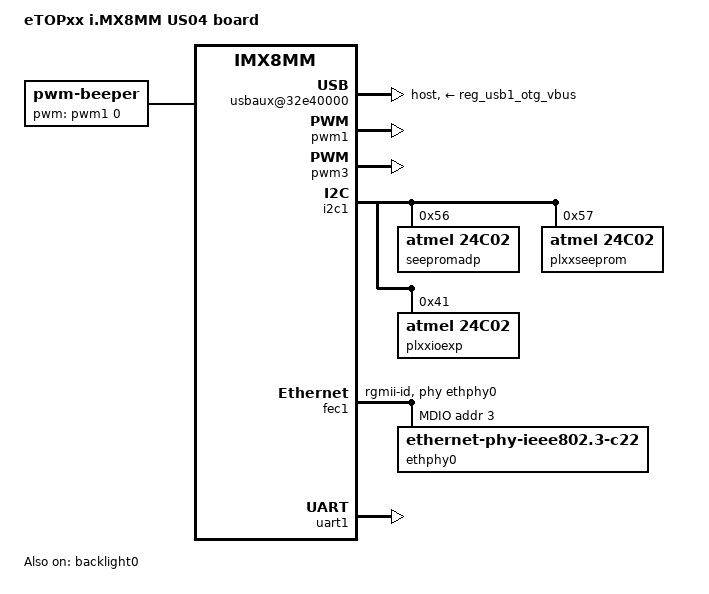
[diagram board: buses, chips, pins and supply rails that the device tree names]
/*
 * Copyright (C) 2019 Exor S.p.a
 * 
 * Written by: G. Pavoni Exor S.p.a.
 * 
 * Copyright (C) 2013 Freescale Semiconductor, Inc.
 *
 * This program is free software; you can redistribute it and/or modify
 * it under the terms of the GNU General Public License version 2 as
 * published by the Free Software Foundation.
 */
  
/dts-v1/;
  
#include "imx8mm_us04.dtsi"
  
/ {
	model = "eTOPxx i.MX8MM US04 board";

	aliases {
		serial0 = &uart1;
		serial1 = &uart2;
		serial2 = &uart4;
	};

	thermal-zones {
		/* cpu thermal */
		cpu-thermal {
			polling-delay-passive = <250>;
			polling-delay = <2000>;
			thermal-sensors = <&tmu>;
			trips {
				cpu_alert0: trip0 {
					temperature = <110000>;
					hysteresis = <2000>;
					type = "passive";
				};

				cpu_crit0: trip1 {
					temperature = <120000>;
					hysteresis = <2000>;
					type = "critical";
				};
			};

			cooling-maps {
				map0 {
					trip = <&cpu_alert0>;
					cooling-device =
					<&A53_0 THERMAL_NO_LIMIT THERMAL_NO_LIMIT>;
				};
			};
		};
	};
	
	beeper {
		compatible = "pwm-beeper";
		pwms = <&pwm1 0 50000 0>;
	};
#if 0	
	working_hours {
	  compatible = "working_hours";
	  nvmem-names = "eeprom", "rtcnvram";
	  nvmem = <&seeprom0>, <&m41t83>;
	  backlight = <&backlight0>;
	  status = "okay";
	};	

	plxx0: plugin0 {
	  compatible = "exor,plxx_manager";
	  nvmem-names = "eeprom", "ioexp";
	  nvmem = <&plxxseeprom>, <&plxxioexp>;
	  sel-gpio = <&gpio1 7 0>;
	  index = <0>;
	  status = "okay";
	};	
	
	plxx1: plugin1 {
	  compatible = "exor,plxx_manager";
	  nvmem-names = "eeprom", "ioexp";
	  nvmem = <&plxxseeprom>, <&plxxioexp>;
	  sel-gpio = <&gpio1 4 0>;
	  index = <1>;
	  status = "okay";
	};	
	
	plxx2: plugin2 {
	  compatible = "exor,plxx_manager";
	  nvmem-names = "eeprom", "ioexp";
	  nvmem = <&plxxseeprom>, <&plxxioexp>;
	  sel-gpio = <&gpio4 7 0>;
	  index = <2>;
	  status = "okay";
	};	
	
	plxx3: plugin3 {
	  compatible = "exor,plxx_manager";
	  nvmem-names = "eeprom", "ioexp";
	  nvmem = <&plxxseeprom>, <&plxxioexp>;
	  sel-gpio = <&gpio1 8 0>;
	  index = <3>;
	  status = "okay";
	};	
#endif	
	
};

&aips4 {
	usbaux@32e40000 {
		compatible = "fsl,imx8mm-usb", "fsl,imx7d-usb";
		reg = <0x32e40000 0x200>;
		interrupts = <GIC_SPI 40 IRQ_TYPE_LEVEL_HIGH>;
		clocks = <&clk IMX8MM_CLK_USB1_CTRL_ROOT>;
		clock-names = "usb1_ctrl_root_clk";
		assigned-clocks = <&clk IMX8MM_CLK_USB_BUS>;
		assigned-clock-parents = <&clk IMX8MM_SYS_PLL2_500M>;
		fsl,usbphy = <&usbphynop1>;
		fsl,usbmisc = <&usbmisc1 0>;
		power-domains = <&usb_otg1_pd>;
		
		dr_mode = "host";
		vbus-supply = <&reg_usb1_otg_vbus>;
		picophy,pre-emp-curr-control = <3>;
		picophy,dc-vol-level-adjust = <7>;
		status = "okay";
	};	
};

/delete-node/&usbotg1;


&backlight0 {
    compatible = "pwm-backlight";
    pwms = <&pwm3 0 50000 0>;
    brightness-levels = <0 4 8 12 16 20 24 28 32 36 40 44 48 52 56 60 64 68 72 76 80 84 88 92 96 100>;
    default-brightness-level = <0>;
    enable-gpios = <&gpio5 5 0>;
    status = "okay";
};

&pwm1 {
	pinctrl-names = "default";
	pinctrl-0 = <&pinctrl_pwm1>;
	status = "okay";
};

&pwm3 {
	pinctrl-names = "default";
	pinctrl-0 = <&pinctrl_pwm3>;
	status = "okay";
};

&ecspi3 {
	/delete-property/dmas;
	/delete-property/dma-names;
};

&i2c1 {
    seepromadp:seeprom0@56 {
        compatible = "atmel,24c02";
        reg = <0x56>;
    };
    
	plxxseeprom:seeprom1@57 {
		compatible = "atmel,24c02";
		reg = <0x57>;
	};

	plxxioexp:ioexp1@41 {
		compatible = "atmel,24c02";
		reg = <0x41>;
	};    
};

&fec1 {
	pinctrl-names = "default";
	pinctrl-0 = <&pinctrl_fec1>;
	phy-mode = "rgmii-id";
	phy-handle = <&ethphy0>;
	fsl,magic-packet;
	status = "okay";

	mdio {
		#address-cells = <1>;
		#size-cells = <0>;

		ethphy0: ethernet-phy@0 {
			compatible = "ethernet-phy-ieee802.3-c22";
			reg = <3>;
			at803x,led-act-blind-workaround;
		};
	};
};
#if 0
&pcie0{
	pinctrl-names = "default";
	pinctrl-0 = <&pinctrl_pcie0>;
	reset-gpio = <&gpio4 18 0>;
	ext_osc = <1>;
	fsl,max-link-speed = <1>;
	status = "okay";
};
#endif
&uart1 { /* Main UART */
	/delete-property/dmas;
	/delete-property/dma-names;
	pinctrl-names = "default";
	pinctrl-0 = <&pinctrl_uart1>;
	fsl,uart-has-rtscts;
	rts-gpio = <&gpio1 1 0>;
	mode-gpio = <&gpio1 0 0>;
	rxen-gpio = <&gpio1 3 0>;
	status = "okay";
};
#if 0
&uart2 {
	pinctrl-names = "default";
	pinctrl-0 = <&pinctrl_uart2>;
	fsl,uart-has-rtscts;
	status = "okay";
	is-plugin-module;
	plugin1 = <&plxx0>;
	plugin2 = <&plxx1>;
	/delete-property/dmas;
	/delete-property/dma-names;
};

&uart4 {
	pinctrl-names = "default";
	pinctrl-0 = <&pinctrl_uart4>;
	fsl,uart-has-rtscts;
	status = "okay";
	is-plugin-module;
	plugin1 = <&plxx2>;
	plugin2 = <&plxx3>;
	/delete-property/dmas;
	/delete-property/dma-names;
};
#endif

&iomuxc {
	pinctrl-names = "default";
	pinctrl-0 = <&pinctrl_hog &pinctrl_hog2>;

	imx8mm-evk {
		pinctrl_hog2: hoggrp-2 {
			fsl,pins = <
				MX8MM_IOMUXC_GPIO1_IO07_GPIO1_IO7      0x1c4
				MX8MM_IOMUXC_GPIO1_IO04_GPIO1_IO4      0x1c4
				MX8MM_IOMUXC_GPIO1_IO08_GPIO1_IO8      0x1c4
				MX8MM_IOMUXC_SAI1_RXD5_GPIO4_IO7       0x1c4
			>;
		};

		pinctrl_pcie0: pcie0grp {
			fsl,pins = <
				MX8MM_IOMUXC_SAI1_TXD6_GPIO4_IO18	0x1c4
			>;
		};

		pinctrl_pwm1: pwm1grp {
			fsl,pins = <
				MX8MM_IOMUXC_I2C4_SDA_PWM1_OUT            0x1c4
			>;
		};

		pinctrl_pwm3: pwm3grp {
			fsl,pins = <
				MX8MM_IOMUXC_SPDIF_TX_PWM3_OUT            0x1c4
				MX8MM_IOMUXC_SPDIF_EXT_CLK_GPIO5_IO5      0x1c4
			>;
		};

		pinctrl_fec1: fec1grp {
			fsl,pins = <
				MX8MM_IOMUXC_ENET_MDC_ENET1_MDC		0x3
				MX8MM_IOMUXC_ENET_MDIO_ENET1_MDIO	0x3
				MX8MM_IOMUXC_ENET_TD3_ENET1_RGMII_TD3	0x1f
				MX8MM_IOMUXC_ENET_TD2_ENET1_RGMII_TD2	0x1f
				MX8MM_IOMUXC_ENET_TD1_ENET1_RGMII_TD1	0x1f
				MX8MM_IOMUXC_ENET_TD0_ENET1_RGMII_TD0	0x1f
				MX8MM_IOMUXC_ENET_RD3_ENET1_RGMII_RD3	0x91
				MX8MM_IOMUXC_ENET_RD2_ENET1_RGMII_RD2	0x91
				MX8MM_IOMUXC_ENET_RD1_ENET1_RGMII_RD1	0x91
				MX8MM_IOMUXC_ENET_RD0_ENET1_RGMII_RD0	0x91
				MX8MM_IOMUXC_ENET_TXC_ENET1_RGMII_TXC	0x1f
				MX8MM_IOMUXC_ENET_RXC_ENET1_RGMII_RXC	0x91
				MX8MM_IOMUXC_ENET_RX_CTL_ENET1_RGMII_RX_CTL	0x91
				MX8MM_IOMUXC_ENET_TX_CTL_ENET1_RGMII_TX_CTL	0x1f
			>;
		};
		
		pinctrl_uart1: uart1grp {
			fsl,pins = <
				MX8MM_IOMUXC_SAI2_RXFS_UART1_DCE_TX     0x140
				MX8MM_IOMUXC_SAI2_RXC_UART1_DCE_RX      0x140
				MX8MM_IOMUXC_SAI2_RXD0_UART1_DCE_RTS_B	0x140
				MX8MM_IOMUXC_SAI2_TXFS_UART1_DCE_CTS_B	0x140
			//	MX8MM_IOMUXC_GPIO1_IO03_GPIO1_IO3       0x11
			//	MX8MM_IOMUXC_GPIO1_IO01_GPIO1_IO1       0x11
			//	MX8MM_IOMUXC_GPIO1_IO00_GPIO1_IO0       0x11
			>;
		};
		
		pinctrl_uart2: uart2grp {
			fsl,pins = <
				MX8MM_IOMUXC_SAI3_TXFS_UART2_DCE_RX     0x140
				MX8MM_IOMUXC_SAI3_RXD_UART2_DCE_RTS_B   0x140
				MX8MM_IOMUXC_SAI3_RXC_UART2_DCE_CTS_B   0x140
				MX8MM_IOMUXC_SAI3_TXC_UART2_DCE_TX      0x140
			>;
		};

		pinctrl_uart4: uart4grp {
			fsl,pins = <
				MX8MM_IOMUXC_ECSPI2_SCLK_UART4_DCE_RX 0x140
				MX8MM_IOMUXC_ECSPI2_MOSI_UART4_DCE_TX 0x140
				MX8MM_IOMUXC_ECSPI2_MISO_UART4_DCE_CTS_B 0x140
				MX8MM_IOMUXC_ECSPI2_SS0_UART4_DCE_RTS_B 0x140
			>;
		};
	};
};

